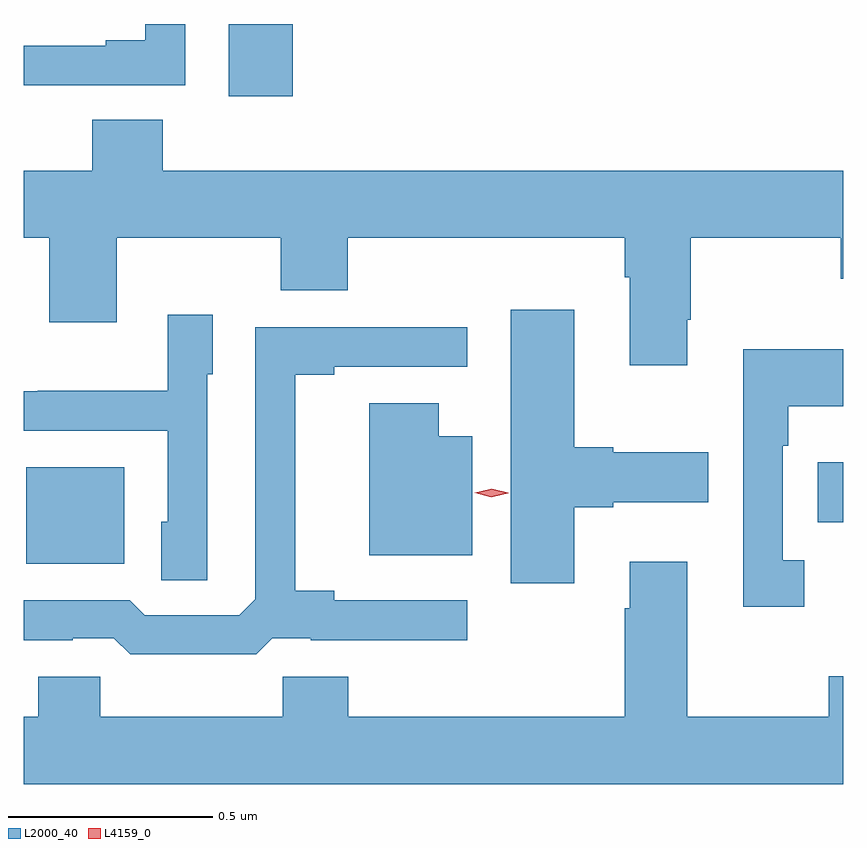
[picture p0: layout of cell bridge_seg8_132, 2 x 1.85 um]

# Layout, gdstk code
import gdstk
lib = gdstk.Library(unit=1e-6, precision=1e-09)
def R(c, l, rs):  # rectangles x0, y0, x1, y1
    for r in rs: c.add(gdstk.rectangle(r[:2], r[2:], *l))
def P(c, l, *ps):  # polygons
    for p in ps: c.add(gdstk.Polygon(p, *l))
L2000_40 = (2000, 40)
L4159_0 = (4159, 0)

bridge_seg8_132 = lib.new_cell('bridge_seg8_132')
R(bridge_seg8_132, L2000_40, [(421.478,1138.349,421.717,1138.585), (423.409,1138.45,423.472,1138.597), (421.973,1139.49,422.129,1139.666)])
P(bridge_seg8_132, L2000_40, [(421.556,1139.517),(421.866,1139.517),(421.866,1139.666),(421.769,1139.666),(421.769,1139.626),(421.673,1139.626),(421.673,1139.613),(421.472,1139.613),(421.472,1139.516),(421.556,1139.516)],
  [(421.811,1139.432),(421.64,1139.432),(421.64,1139.308),(421.472,1139.308),(421.472,1139.144),(421.535,1139.144),(421.535,1138.938),(421.699,1138.938),(421.699,1139.144),(422.099,1139.144),(422.099,1139.016),(422.263,1139.016),(422.263,1139.144),(422.939,1139.144),(422.939,1139.048),(422.951,1139.048),(422.951,1138.833),(423.091,1138.833),(423.091,1138.945),(423.099,1138.945),(423.099,1139.144),(423.466,1139.144),(423.466,1139.045),(423.472,1139.045),(423.472,1139.308),(421.811,1139.308)],
  [(422.815,1138.487),(422.911,1138.487),(422.911,1138.499),(423.142,1138.499),(423.142,1138.621),(422.911,1138.621),(422.911,1138.634),(422.815,1138.634),(422.815,1138.969),(422.66,1138.969),(422.66,1138.302),(422.815,1138.302)],
  [(421.92,1138.812),(421.933,1138.812),(421.933,1138.957),(421.824,1138.957),(421.824,1138.771),(421.507,1138.771),(421.507,1138.77),(421.472,1138.77),(421.472,1138.674),(421.824,1138.674),(421.824,1138.452),(421.808,1138.452),(421.808,1138.309),(421.92,1138.309)],
  [(422.079,1138.167),(422.173,1138.167),(422.173,1138.163),(422.554,1138.163),(422.554,1138.26),(422.23,1138.26),(422.23,1138.283),(422.135,1138.283),(422.135,1138.81),(422.23,1138.81),(422.23,1138.83),(422.554,1138.83),(422.554,1138.926),(422.037,1138.926),(422.037,1138.263),(421.998,1138.224),(421.767,1138.224),(421.731,1138.26),(421.472,1138.26),(421.472,1138.163),(421.592,1138.163),(421.592,1138.167),(421.692,1138.167),(421.732,1138.128),(422.039,1138.128)],
  [(423.376,1138.358),(423.324,1138.358),(423.324,1138.637),(423.337,1138.637),(423.337,1138.733),(423.472,1138.733),(423.472,1138.873),(423.228,1138.873),(423.228,1138.245),(423.376,1138.245)],
  [(422.566,1138.66),(422.485,1138.66),(422.485,1138.741),(422.315,1138.741),(422.315,1138.37),(422.566,1138.37)],
  [(423.472,1138.075),(423.436,1138.075),(423.436,1137.976),(423.091,1137.976),(423.091,1138.354),(422.951,1138.354),(422.951,1138.241),(422.939,1138.241),(422.939,1137.976),(422.264,1137.976),(422.264,1138.074),(422.104,1138.074),(422.104,1137.976),(421.659,1137.976),(421.659,1138.074),(421.508,1138.074),(421.508,1137.976),(421.472,1137.976),(421.472,1137.812),(423.472,1137.812)])
P(bridge_seg8_132, L4159_0, [(422.613,1138.512),(422.573,1138.522),(422.572,1138.522),(422.573,1138.523),(422.614,1138.532),(422.654,1138.522),(422.654,1138.522),(422.654,1138.521)])

lib.write_gds('bridge_seg8_132.gds')
